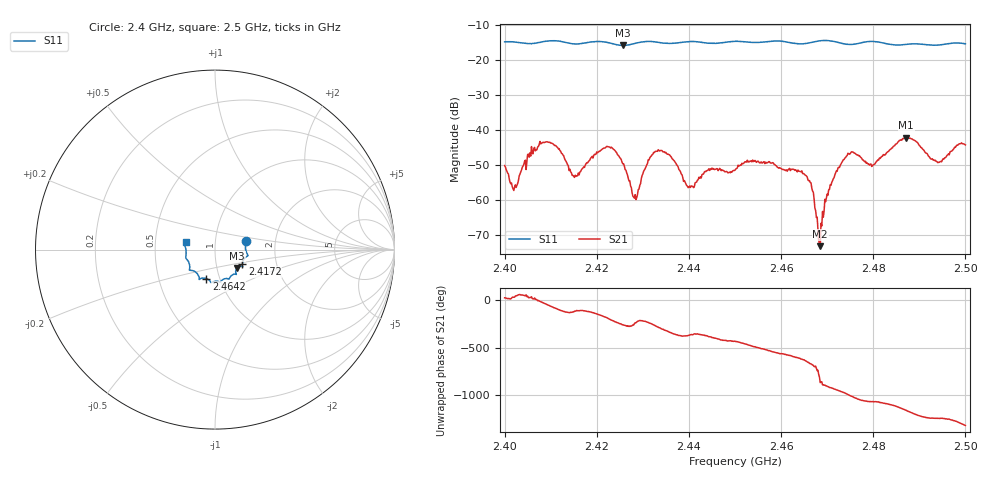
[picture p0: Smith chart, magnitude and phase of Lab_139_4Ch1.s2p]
# Hz S RI R
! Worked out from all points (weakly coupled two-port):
!   601 points, 2.4 GHz to 2.5 GHz, reference 50 ohm
!   highest |S21| = -42.26 dB at 2.4872 GHz (marker M1); lowest = -73.3 dB at 2.4685 GHz (marker M2)
!   lowest |S11| = -15.9 dB at 2.4257 GHz (marker M3), VSWR 1.38, Z = 62.5 - j13.1 ohm
!   |S11| at or under -10 dB: start of sweep to end of sweep
!   S12 and S22 are empty: the file has one direction only
!   S11 on the Smith chart (normalised r, x): 2.4 GHz: 1.41, +0.14; 2.4172 GHz: 1.34, -0.22; 2.4642 GHz: 0.86, -0.29; 2.5 GHz: 0.72, +0.06
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2.4e9  0.1733 0.0496  0.0029 0.00101  0 0  0 0
2.402167e9  0.1747 0.0403  0.00136 0.000662  0 0  0 0
2.4055e9  0.1696 0.00726  0.00432 0.00179  0 0  0 0
2.409333e9  0.1829 -0.0297  0.00392 -0.00541  0 0  0 0
2.415e9  0.1587 -0.056  -0.00134 -0.00169  0 0  0 0
2.416667e9  0.1527 -0.0748  -0.00106 -0.00245  0 0  0 0
2.417167e9  0.1521 -0.0805  -0.00138 -0.0026  0 0  0 0
2.422333e9  0.1496 -0.0937  -0.00559 0.0013  0 0  0 0
2.425667e9  0.1228 -0.1023  -0.000392 0.00323  0 0  0 0
2.428333e9  0.1155 -0.1266  -0.000556 0.00104  0 0  0 0
2.433333e9  0.1126 -0.1366  0.00151 0.00495  0 0  0 0
2.44e9  0.0799 -0.1631  0.00147 -0.000355  0 0  0 0
2.45e9  0.0296 -0.1808  0.00074 -0.00253  0 0  0 0
2.464167e9  -0.0482 -0.1613  -0.000629 0.00244  0 0  0 0
2.466667e9  -0.0763 -0.1598  0.00104 0.00102  0 0  0 0
2.4685e9  -0.0865 -0.1655  -0.00018 -0.00012  0 0  0 0
2.47e9  -0.0876 -0.1664  -0.00119 0.000119  0 0  0 0
2.474e9  -0.0976 -0.1359  -0.000772 0.00392  0 0  0 0
2.483333e9  -0.1409 -0.0897  0.00483 -0.000958  0 0  0 0
2.487167e9  -0.1565 -0.0551  0.00167 -0.00753  0 0  0 0
2.494167e9  -0.162 0.00094  -0.00321 -0.00116  0 0  0 0
2.5e9  -0.1636 0.0417  -0.00358 0.00488  0 0  0 0
